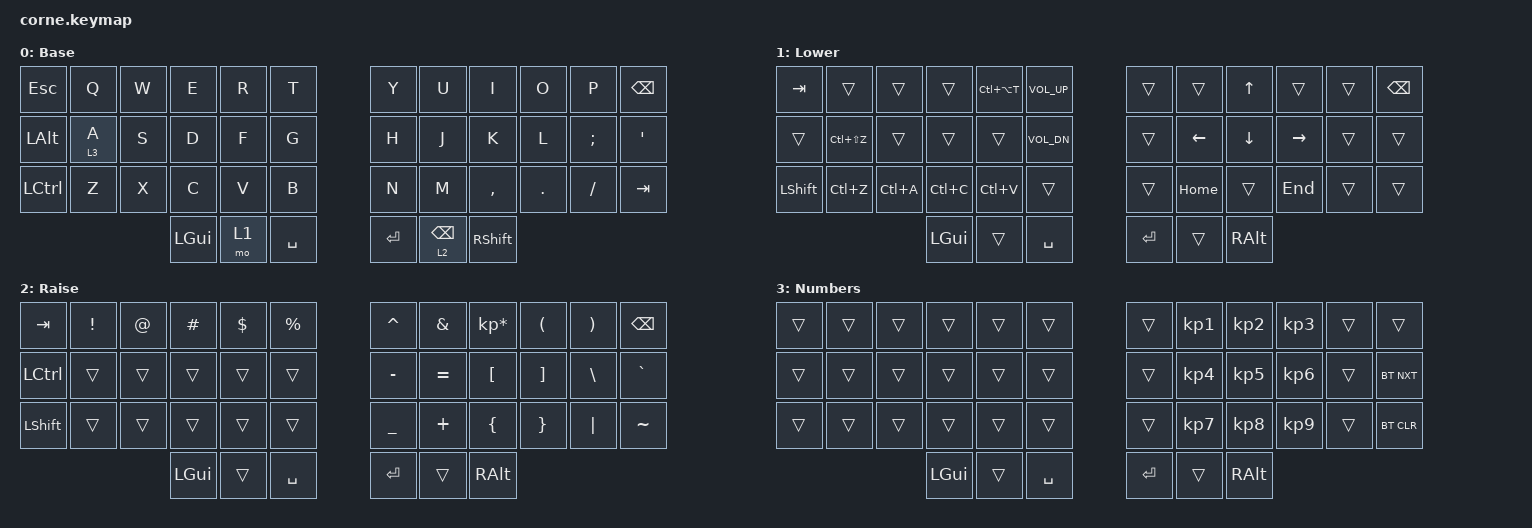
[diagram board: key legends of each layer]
/*
 * Copyright (c) 2020 The ZMK Contributors
 *
 * SPDX-License-Identifier: MIT
 */

#include <behaviors.dtsi>
#include <dt-bindings/zmk/keys.h>
#include <dt-bindings/zmk/bt.h>

/ {
        keymap {
                compatible = "zmk,keymap";

                default_layer {
// -----------------------------------------------------------------------------------------
// |  ESC |  Q  |  W  |  E  |  R  |  T  |   |  Y  |    U   |  I  |  O  |  P  | BKSP |
// | ALT  |A/NUM|  S  |  D  |  F  |  G  |   |  H  |    J   |  K  |  L  |  ;  |  '   |
// | CTRL |  Z  |  X  |  C  |  V  |  B  |   |  N  |    M   |  ,  |  .  |  /  | TAB  |
//                    | GUI | LWR | SPC |   | ENT |RSE/BKSP| SHFT|
                        label = "Base";
                        bindings = <
   &kp ESC   &kp Q   &kp W &kp E &kp R &kp T   &kp Y &kp U  &kp I     &kp O   &kp P    &kp BSPC
   &kp LALT &lt 3 A &kp S &kp D &kp F &kp G   &kp H &kp J  &kp K     &kp L   &kp SEMI &kp SQT
   &kp LCTRL &kp Z   &kp X &kp C &kp V &kp B   &kp N &kp M  &kp COMMA &kp DOT &kp FSLH &kp TAB
                  &kp LGUI &mo 1 &kp SPACE   &kp RET &lt 2 BACKSPACE &kp RSHFT
                        >;
                };

                lower_layer {
// -----------------------------------------------------------------------------------------
// |  TAB |     |     |     | CMD |VOLUP|             |     |     |  UP |     |     | BKSP |
// |      |REDO |     |     |     |VOLDN|             |     | LFT | DWN | RGT |     |      |
// | SHFT |UNDO | ALL |COPY |PASTE|     |             |     | HOME|     | END |     |      |
//                    | GUI |     | SPC |             | ENT |     | ALT |
                        label = "Lower";
                        bindings = <
   &kp TAB    &trans         &trans       &trans       &kp LC(LA(T)) &kp C_VOL_UP            &trans     &trans    &kp UP    &trans     &trans  &kp BSPC
   &trans     &kp  LC(LS(Z)) &trans       &trans       &trans        &kp C_VOL_DN            &trans     &kp LEFT  &kp DOWN  &kp RIGHT  &trans  &trans
   &kp LSHFT  &kp  LC(Z)     &kp LC(A)    &kp LC(C)    &kp LC(V)     &trans                  &trans     &kp HOME  &trans    &kp END    &trans  &trans
                                          &kp LGUI     &trans        &kp SPACE               &kp RET  &trans   &kp RALT
                        >;
                };

                raise_layer {
// -----------------------------------------------------------------------------------------
// |  TAB |  !  |  @  |  #  |  $  |  %  |   |  ^  |  &  |  *  |  (  |  )  | BKSP |
// | CTRL |     |     |     |     |     |   |  -  |  =  |  [  |  ]  |  \  |  `   |
// | SHFT |     |     |     |     |     |   |  _  |  +  |  {  |  }  | "|" |  ~   |
//                    | GUI |     | SPC |   | ENT |     | ALT |
                        label = "Raise";
                        bindings = <
   &kp  TAB  &kp EXCL &kp AT &kp HASH &kp DLLR &kp PRCNT   &kp CARET &kp AMPS  &kp KP_MULTIPLY &kp LPAR &kp RPAR &kp BSPC
   &kp LCTRL &trans   &trans &trans   &trans   &trans      &kp MINUS &kp EQUAL &kp LBKT        &kp RBKT &kp BSLH &kp GRAVE
   &kp LSHFT &trans   &trans &trans   &trans   &trans      &kp UNDER &kp PLUS  &kp LBRC        &kp RBRC &kp PIPE &kp TILDE
                             &kp LGUI &trans   &kp SPACE   &kp RET   &trans    &kp RALT
                        >;
                };
                numbers_layer {
// -----------------------------------------------------------------------------------------
// |      |     |     |     |     |     |                      |     |  1  |  2  |  3  |     | BKSP |
// |      |     |     |     |     |     |                      |     |  4  |  5  |  6  |     |BT_NXT|
// |      |     |     |     |     |     |                      |     |  7  |  8  |  9  |     |BTCLR |
//                    | GUI |     | SPC |                      | ENT |     | ALT |
                        label = "Numbers";
                        bindings = <
&trans   &trans   &trans   &trans   &trans   &trans              &trans   &kp KP_N1  &kp KP_N2   &kp KP_N3   &trans   &trans   
&trans   &trans   &trans   &trans   &trans   &trans              &trans   &kp KP_N4  &kp KP_N5   &kp KP_N6   &trans   &bt BT_NXT   
&trans   &trans   &trans   &trans   &trans   &trans              &trans   &kp KP_N7  &kp KP_N8   &kp KP_N9   &trans   &bt BT_CLR   
                             &kp LGUI &trans   &kp SPACE   &kp RET   &trans    &kp RALT
                        >;
                };
//                 navigation_layer {
// // -----------------------------------------------------------------------------------------
// // |      |     |     |     |     |     |   |     |     |     |     |     |      |
// // |      |     |     |     |     |     |   |     |     |     |     |     |      |
// // |      |     |     |     |     |     |   |     |     |     |     |     |      |
// //                    | GUI |     | SPC |   | ENT |     | ALT |
//                         label = "Nav";
//                         bindings = <
// &trans   &trans   &trans   &trans   &trans   &trans              &trans   &trans   &trans   &trans   &trans   &trans
// &trans   &trans   &trans   &trans   &trans   &trans              &trans   &trans   &trans   &trans   &trans   &trans
// &trans   &trans   &trans   &trans   &trans   &trans              &trans   &trans   &trans   &trans   &trans   &trans
//                              &kp LGUI &trans   &kp SPACE   &kp RET   &trans    &kp RALT
//                         >;
//                 };
//                 empty_layer {
// // -----------------------------------------------------------------------------------------
// // |      |     |     |     |     |     |   |     |     |     |     |     |      |
// // |      |     |     |     |     |     |   |     |     |     |     |     |      |
// // |      |     |     |     |     |     |   |     |     |     |     |     |      |
// //                    | GUI |     | SPC |   | ENT |     | ALT |
//                         label = "Empty";
//                         bindings = <
// &trans   &trans   &trans   &trans   &trans   &trans              &trans   &trans   &trans   &trans   &trans   &trans
// &trans   &trans   &trans   &trans   &trans   &trans              &trans   &trans   &trans   &trans   &trans   &trans
// &trans   &trans   &trans   &trans   &trans   &trans              &trans   &trans   &trans   &trans   &trans   &trans
//                              &kp LGUI &trans   &kp SPACE   &kp RET   &trans    &kp RALT
//                         >;
//                 };

//                 lower_layer {
// // -----------------------------------------------------------------------------------------
// // |  TAB |  1  |  2  |  3  |  4  |  5  |   |  6  |  7  |  8  |  9  |  0  | BKSP |
// // | BTCLR| BT1 | BT2 | BT3 | BT4 | BT5 |   | LFT | DWN |  UP | RGT |     |      |
// // | SHFT |     |     |     |     |     |   | HOME|     |     | END |     |      |
// //                    | GUI |     | SPC |   | ENT |     | ALT |
//                         label = "Lower";
//                         bindings = <
//    &kp TAB    &kp N1       &kp N2       &kp N3       &kp N4       &kp N5         &kp N6   &kp N7   &kp N8 &kp N9    &kp N0 &kp BSPC
//    &bt BT_CLR &bt BT_SEL 0 &bt BT_SEL 1 &bt BT_SEL 2 &bt BT_SEL 3 &bt BT_SEL 4   &kp LEFT &kp DOWN &kp UP &kp RIGHT &trans &trans
//    &kp LSHFT  &trans       &trans       &trans       &trans       &trans         &kp HOME &trans   &trans &kp END   &trans &trans
//                                     &kp LGUI     &trans       &kp SPACE      &kp RET  &trans   &kp RALT
//                         >;
//                 };

        };
};
